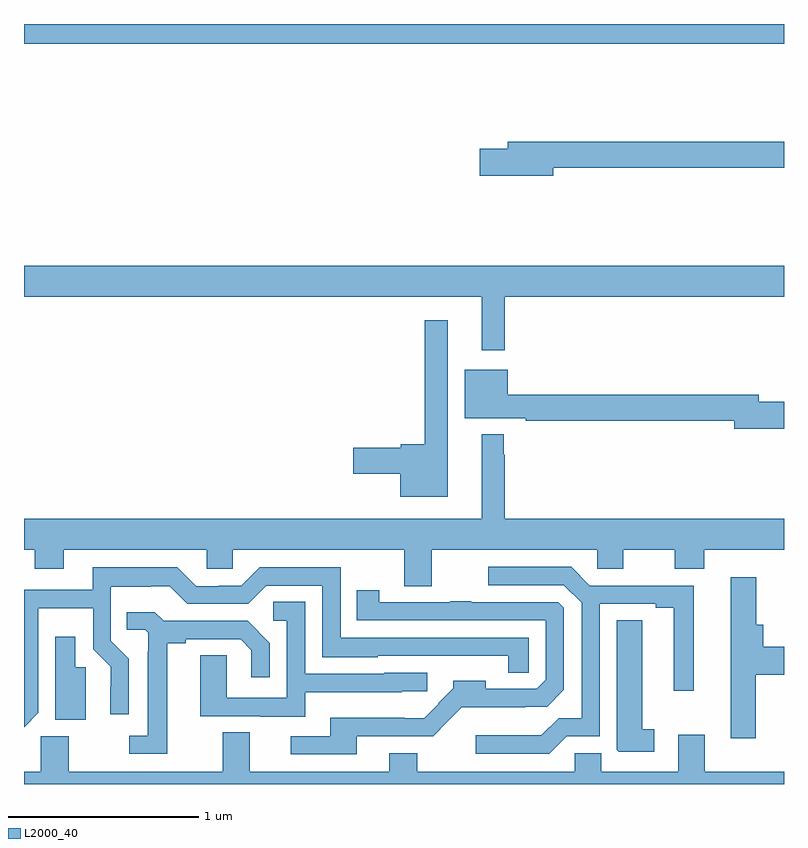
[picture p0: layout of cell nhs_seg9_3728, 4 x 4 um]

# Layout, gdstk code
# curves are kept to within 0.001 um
import gdstk
lib = gdstk.Library(unit=1e-6, precision=1e-09)
def R(c, l, rs):  # rectangles x0, y0, x1, y1
    for r in rs: c.add(gdstk.rectangle(r[:2], r[2:], *l))
def P(c, l, *ps):  # polygons
    for p in ps: c.add(gdstk.Polygon(p, *l))
L2000_40 = (2000, 40)

nhs_seg9_3728 = lib.new_cell('nhs_seg9_3728')
R(nhs_seg9_3728, L2000_40, [(323,1220.396,327,1220.5)])
P(nhs_seg9_3728, L2000_40, [(325.786,1219.744),(327,1219.744),(327,1219.88),(325.547,1219.88),(325.547,1219.844),(325.398,1219.844),(325.398,1219.702),(325.786,1219.702)],
  [(325.531,1219.064),(327,1219.064),(327,1219.228),(323,1219.228),(323,1219.064),(325.409,1219.064),(325.409,1218.783),(325.531,1218.783)],
  [(325.231,1218.94),(325.11,1218.94),(325.11,1218.287),(324.984,1218.287),(324.984,1218.269),(324.732,1218.269),(324.732,1218.134),(324.98,1218.134),(324.98,1218.011),(325.231,1218.011)],
  [(327,1218.512),(326.866,1218.512),(326.866,1218.548),(325.546,1218.548),(325.546,1218.679),(325.319,1218.679),(325.319,1218.425),(325.642,1218.425),(325.642,1218.412),(326.738,1218.412),(326.738,1218.37),(327,1218.37)],
  [(325.147,1217.732),(326.016,1217.732),(326.016,1217.634),(326.155,1217.634),(326.155,1217.732),(326.426,1217.732),(326.426,1217.633),(326.579,1217.633),(326.579,1217.732),(327,1217.732),(327,1217.896),(325.531,1217.896),(325.531,1218.233),(325.524,1218.233),(325.524,1218.34),(325.409,1218.34),(325.409,1217.896),(323,1217.896),(323,1217.732),(323.057,1217.732),(323.057,1217.633),(323.209,1217.633),(323.209,1217.732),(323.961,1217.732),(323.961,1217.634),(324.099,1217.634),(324.099,1217.732),(325,1217.732),(325,1217.542),(325.147,1217.542)],
  [(325.857,1216.752),(326.031,1216.752),(326.031,1217.448),(326.324,1217.448),(326.324,1217.428),(326.42,1217.428),(326.42,1216.992),(326.524,1216.992),(326.524,1217.544),(325.978,1217.544),(325.879,1217.643),(325.443,1217.643),(325.443,1217.547),(325.842,1217.547),(325.935,1217.454),(325.935,1216.847),(325.814,1216.847),(325.723,1216.756),(325.377,1216.756),(325.377,1216.659),(325.764,1216.659)],
  [(323.076,1216.875),(323.076,1217.426),(323.364,1217.426),(323.364,1217.21),(323.456,1217.118),(323.456,1217.012),(323.454,1217.012),(323.454,1216.866),(323.55,1216.866),(323.55,1217.16),(323.457,1217.253),(323.457,1217.537),(323.666,1217.537),(323.666,1217.541),(323.766,1217.541),(323.859,1217.448),(324.18,1217.448),(324.276,1217.544),(324.57,1217.544),(324.57,1217.168),(324.861,1217.168),(324.861,1217.175),(325.548,1217.174),(325.548,1217.086),(325.656,1217.086),(325.656,1217.271),(324.666,1217.271),(324.666,1217.64),(324.24,1217.64),(324.144,1217.544),(324.024,1217.544),(324.024,1217.541),(323.907,1217.541),(323.807,1217.641),(323.363,1217.641),(323.363,1217.523),(323,1217.523),(323,1216.8)],
  [(326.852,1217.075),(327,1217.075),(327,1217.222),(326.891,1217.222),(326.891,1217.338),(326.855,1217.338),(326.855,1217.587),(326.72,1217.587),(326.72,1216.74),(326.852,1216.74)],
  [(324.751,1216.752),(325.155,1216.752),(325.231,1216.829),(325.229,1216.831),(325.303,1216.905),(325.637,1216.904),(325.637,1216.906),(325.753,1216.906),(325.842,1216.995),(325.842,1217.427),(325.812,1217.457),(325.355,1217.457),(325.355,1217.462),(325.243,1217.462),(325.243,1217.457),(324.87,1217.457),(324.87,1217.521),(324.751,1217.521),(324.751,1217.361),(325.746,1217.361),(325.746,1217.049),(325.698,1217.001),(325.429,1217.001),(325.429,1217.044),(325.258,1217.044),(325.258,1217.005),(325.179,1216.926),(325.182,1216.923),(325.106,1216.847),(325.004,1216.847),(325.004,1216.849),(324.611,1216.849),(324.611,1216.752),(324.405,1216.752),(324.405,1216.656),(324.751,1216.656)],
  [(324.481,1216.982),(324.987,1216.982),(324.987,1216.989),(325.122,1216.989),(325.122,1217.085),(324.897,1217.085),(324.897,1217.079),(324.48,1217.079),(324.48,1217.459),(324.312,1217.459),(324.312,1217.358),(324.384,1217.358),(324.384,1216.953),(324.066,1216.953),(324.066,1217.177),(323.927,1217.177),(323.927,1216.857),(324.245,1216.857),(324.245,1216.853),(324.481,1216.853)],
  [(323.755,1217.242),(323.851,1217.242),(323.851,1217.262),(324.14,1217.262),(324.197,1217.205),(324.197,1217.061),(324.294,1217.061),(324.294,1217.242),(324.178,1217.358),(323.736,1217.358),(323.688,1217.405),(323.542,1217.405),(323.542,1217.313),(323.637,1217.313),(323.655,1217.295),(323.655,1217.195),(323.651,1217.195),(323.651,1216.755),(323.553,1216.755),(323.553,1216.659),(323.755,1216.659)],
  [(326.317,1216.787),(326.254,1216.787),(326.254,1217.363),(326.12,1217.363),(326.12,1216.681),(326.13,1216.671),(326.317,1216.671)],
  [(323.326,1217.115),(323.269,1217.115),(323.269,1217.275),(323.165,1217.275),(323.165,1216.837),(323.326,1216.837)],
  [(327,1216.564),(326.584,1216.564),(326.584,1216.759),(326.444,1216.759),(326.444,1216.564),(326.038,1216.564),(326.038,1216.662),(325.899,1216.662),(325.899,1216.564),(325.071,1216.564),(325.071,1216.663),(324.923,1216.663),(324.923,1216.564),(324.187,1216.564),(324.187,1216.772),(324.047,1216.772),(324.047,1216.564),(323.235,1216.564),(323.235,1216.752),(323.088,1216.752),(323.088,1216.564),(323,1216.564),(323,1216.5),(327,1216.5)])

lib.write_gds('nhs_seg9_3728.gds')
